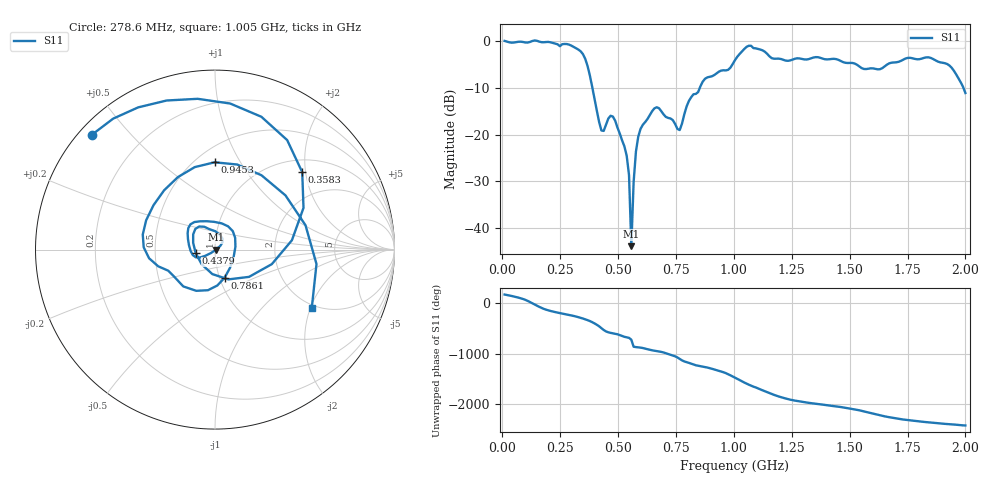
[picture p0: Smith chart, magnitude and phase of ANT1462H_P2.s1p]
!Created with skrf (http://scikit-rf.org).
# Hz S RI R 50.0
!freq ReS11 ImS11
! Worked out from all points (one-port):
!   201 points, 10 MHz to 2 GHz, reference 50 ohm
!   lowest |S11| = -44.0 dB at 557.2 MHz (marker M1), VSWR 1.01, Z = 50.6 - j0.0181 ohm
!   |S11| at or under -10 dB: 389.2 MHz to 852.8 MHz (463.6 MHz wide, 74.6 % of centre); 1.991741 GHz to end of sweep
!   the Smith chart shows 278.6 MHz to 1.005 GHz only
!   S11 on the Smith chart (normalised r, x): 278.6 MHz: 0.04, +0.39; 358.2 MHz: 1.28, +1.92; 437.9 MHz: 0.81, -0.03; 786.1 MHz: 1.06, -0.34; 945.3 MHz: 0.62, +0.78; 1.005 GHz: 1.89, -2.05
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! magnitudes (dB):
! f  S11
! 10 MHz  0.1
! 258.8 MHz  -0.6
! 278.6 MHz  -0.6
! 358.2 MHz  -3.7
! 417.9 MHz  -17.2
! 437.9 MHz  -19.2
! 467.7 MHz  -16.0
! 507.5 MHz  -19.8
! 537.4 MHz  -24.6
! 547.3 MHz  -28.7
! 557.2 MHz  -44.0
! 567.2 MHz  -30.2
! 577.1 MHz  -23.7
! 597 MHz  -18.8
! 666.7 MHz  -14.1
! 756.2 MHz  -18.8
! 766.2 MHz  -19.0
! 786.1 MHz  -15.6
! 875.6 MHz  -8.0
! 945.3 MHz  -6.3
! 1.005 GHz  -4.0
! 1.065 GHz  -0.9
! 1.254 GHz  -3.9
! 1.502 GHz  -4.6
! 1.622 GHz  -6.0
! 1.751 GHz  -3.5
! 1.92 GHz  -4.8
! 2 GHz  -11.1
